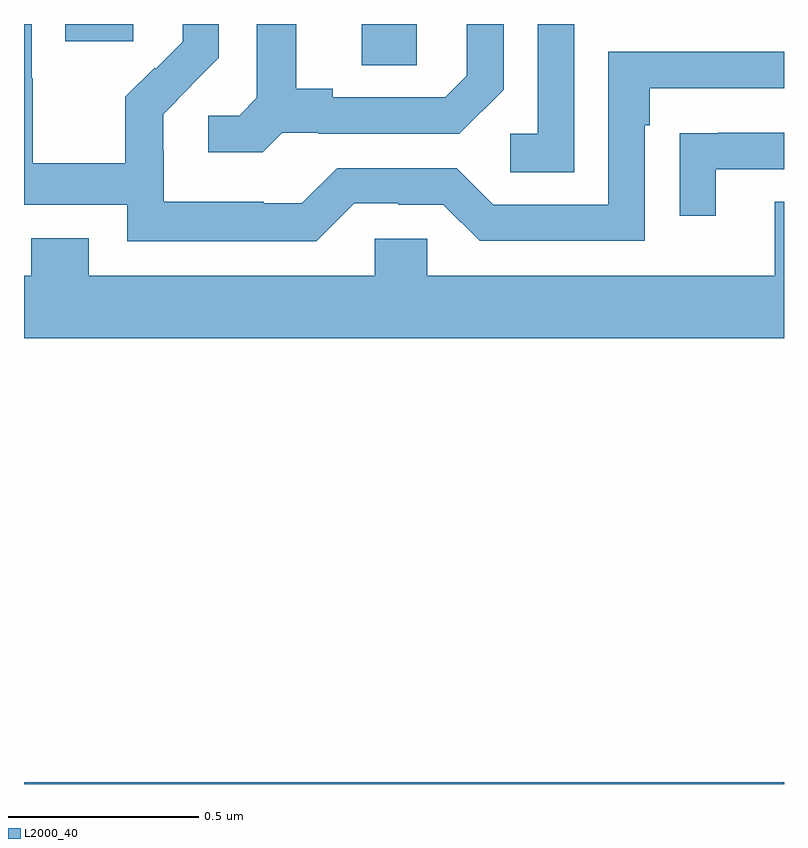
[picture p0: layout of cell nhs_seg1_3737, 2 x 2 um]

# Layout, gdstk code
import gdstk
lib = gdstk.Library(unit=1e-6, precision=1e-09)
def R(c, l, rs):  # rectangles x0, y0, x1, y1
    for r in rs: c.add(gdstk.rectangle(r[:2], r[2:], *l))
def P(c, l, *ps):  # polygons
    for p in ps: c.add(gdstk.Polygon(p, *l))
L2000_40 = (2000, 40)

nhs_seg1_3737 = lib.new_cell('nhs_seg1_3737')
R(nhs_seg1_3737, L2000_40, [(157,577.199,159,577.204), (157.889,579.091,158.034,579.199), (157.109,579.153,157.288,579.199)])
P(nhs_seg1_3737, L2000_40, [(158.448,579.199),(158.352,579.199),(158.352,578.91),(158.28,578.91),(158.28,578.809),(158.448,578.809)],
  [(157.869,578.727),(157.985,578.727),(157.985,578.724),(158.103,578.724),(158.199,578.628),(158.634,578.628),(158.634,578.933),(158.647,578.933),(158.647,579.03),(159,579.03),(159,579.126),(158.538,579.126),(158.538,578.724),(158.235,578.724),(158.139,578.82),(157.824,578.82),(157.731,578.727),(157.631,578.727),(157.631,578.731),(157.368,578.731),(157.368,578.865),(157.366,578.865),(157.366,578.962),(157.44,579.036),(157.439,579.037),(157.512,579.11),(157.512,579.199),(157.418,579.199),(157.418,579.152),(157.347,579.081),(157.344,579.084),(157.267,579.007),(157.267,578.833),(157.023,578.833),(157.023,579.056),(157.02,579.056),(157.02,579.199),(157,579.199),(157,578.724),(157.272,578.724),(157.272,578.627),(157.769,578.627)],
  [(157.68,578.913),(157.774,578.913),(157.774,578.91),(158.146,578.91),(158.262,579.026),(158.262,579.199),(158.165,579.199),(158.165,579.063),(158.108,579.006),(157.813,579.006),(157.813,579.029),(157.717,579.029),(157.717,579.199),(157.613,579.199),(157.613,579.005),(157.566,578.958),(157.485,578.958),(157.485,578.861),(157.628,578.861)],
  [(158.821,578.817),(159,578.817),(159,578.913),(158.827,578.913),(158.827,578.912),(158.725,578.912),(158.725,578.694),(158.821,578.694)],
  [(159,578.731),(158.975,578.731),(158.975,578.536),(158.061,578.536),(158.061,578.634),(157.923,578.634),(157.923,578.536),(157.171,578.536),(157.171,578.635),(157.019,578.635),(157.019,578.536),(157,578.536),(157,578.372),(159,578.372)])

lib.write_gds('nhs_seg1_3737.gds')
